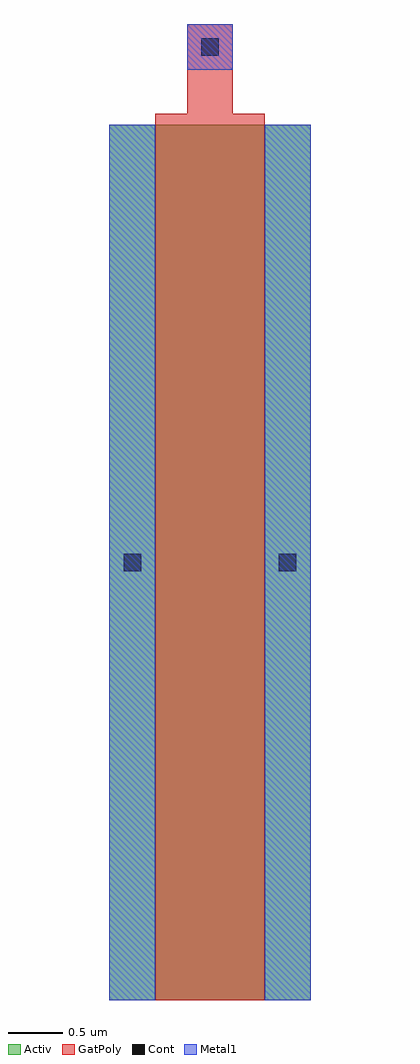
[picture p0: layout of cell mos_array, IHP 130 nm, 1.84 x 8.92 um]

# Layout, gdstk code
import gdstk
lib = gdstk.Library(unit=1e-6, precision=1e-09)
def R(c, l, rs):  # rectangles x0, y0, x1, y1
    for r in rs: c.add(gdstk.rectangle(r[:2], r[2:], *l))
Activ = (1, 0)
GatPoly = (5, 0)
Cont = (6, 0)
Metal1 = (8, 0)

mos_array = lib.new_cell('mos_array')
R(mos_array, Activ, [(0,0,1.84,8)])
R(mos_array, GatPoly, [(0.42,0,1.42,8), (0.42,8,1.42,8.1), (0.71,8.1,1.13,8.92)])
R(mos_array, Cont, [(0.13,3.92,0.29,4.08), (1.55,3.92,1.71,4.08), (0.84,8.63,1,8.79)])
R(mos_array, Metal1, [(0,0,0.42,8), (1.42,0,1.84,8), (0.71,8.5,1.13,8.92)])

lib.write_gds('mos_array.gds')
